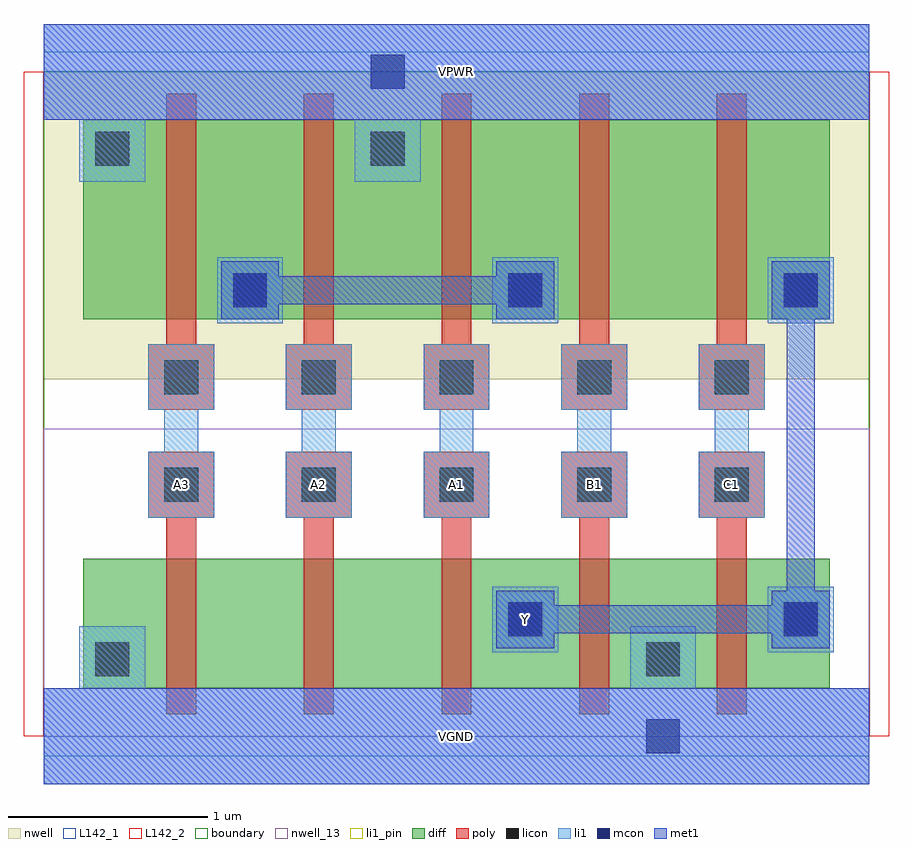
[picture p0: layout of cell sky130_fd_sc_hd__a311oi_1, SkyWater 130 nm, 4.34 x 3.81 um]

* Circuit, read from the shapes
.subckt sky130_fd_sc_hd__a311oi_1 A1 A2 A3 B1 C1 VGND VPWR Y
XM1 n1 A3 VGND VSUBS sky130_fd_pr__nfet_01v8 w=0.65 l=0.15
XM2 n2 A2 n1 VSUBS sky130_fd_pr__nfet_01v8 w=0.65 l=0.15
XM3 Y A1 n2 VSUBS sky130_fd_pr__nfet_01v8 w=0.65 l=0.15
XM4 VGND B1 Y VSUBS sky130_fd_pr__nfet_01v8 w=0.65 l=0.15
XM5 Y C1 VGND VSUBS sky130_fd_pr__nfet_01v8 w=0.65 l=0.15
XM6 n3 A3 VPWR n4 sky130_fd_pr__pfet_01v8 w=1 l=0.15
XM7 VPWR A2 n3 n4 sky130_fd_pr__pfet_01v8 w=1 l=0.15
XM8 n3 A1 VPWR n4 sky130_fd_pr__pfet_01v8 w=1 l=0.15
XM9 n5 B1 n3 n4 sky130_fd_pr__pfet_01v8 w=1 l=0.15
XM10 Y C1 n5 n4 sky130_fd_pr__pfet_01v8 w=1 l=0.15
.ends

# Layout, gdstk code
import gdstk
lib = gdstk.Library(unit=1e-6, precision=1e-09)
def R(c, l, rs):  # rectangles x0, y0, x1, y1
    for r in rs: c.add(gdstk.rectangle(r[:2], r[2:], *l))
def A(c, l, x, y, w, h, nx, ny, dx, dy):  # array of equal rectangles
    R(c, l, [(x+i*dx, y+j*dy, x+i*dx+w, y+j*dy+h) for i in range(nx) for j in range(ny)])
def P(c, l, *ps):  # polygons
    for p in ps: c.add(gdstk.Polygon(p, *l))
nwell_13 = (64, 13)
nwell = (64, 20)
diff = (65, 20)
poly = (66, 20)
licon = (66, 44)
li1_pin = (67, 16)
li1 = (67, 20)
mcon = (67, 44)
met1 = (68, 20)
L142_1 = (142, 1)
L142_2 = (142, 2)
boundary = (235, 4)

sky130_fd_sc_hd__a311oi_ = lib.new_cell('sky130_fd_sc_hd__a311oi_1')
R(sky130_fd_sc_hd__a311oi_, nwell_13, [(0,0,4.14,1.54)])
R(sky130_fd_sc_hd__a311oi_, nwell, [(0,1.79,4.14,3.33)])
A(sky130_fd_sc_hd__a311oi_, diff, 0.615, 0.24, 0.69, 0.65, 4, 1, 0.69, 0)
A(sky130_fd_sc_hd__a311oi_, diff, 0.615, 2.09, 0.69, 1, 4, 1, 0.69, 0)
R(sky130_fd_sc_hd__a311oi_, diff, [(0.2,0.24,3.94,0.89), (0.2,0.24,0.615,0.89), (3.375,0.24,3.94,0.89), (0.2,2.09,3.94,3.09), (0.2,2.09,0.615,3.09), (3.375,2.09,3.94,3.09)])
P(sky130_fd_sc_hd__a311oi_, poly, [(1.305,0.11),(1.305,1.095),(1.215,1.095),(1.215,1.425),(1.545,1.425),(1.545,1.095),(1.455,1.095),(1.455,0.11)],
  [(1.215,1.635),(1.215,1.965),(1.305,1.965),(1.305,3.22),(1.455,3.22),(1.455,1.965),(1.545,1.965),(1.545,1.635)],
  [(1.995,0.11),(1.995,1.095),(1.905,1.095),(1.905,1.425),(2.235,1.425),(2.235,1.095),(2.145,1.095),(2.145,0.11)],
  [(1.905,1.635),(1.905,1.965),(1.995,1.965),(1.995,3.22),(2.145,3.22),(2.145,1.965),(2.235,1.965),(2.235,1.635)],
  [(0.615,0.11),(0.615,1.095),(0.525,1.095),(0.525,1.425),(0.855,1.425),(0.855,1.095),(0.765,1.095),(0.765,0.11)],
  [(0.525,1.635),(0.525,1.965),(0.615,1.965),(0.615,3.22),(0.765,3.22),(0.765,1.965),(0.855,1.965),(0.855,1.635)],
  [(3.375,0.11),(3.375,1.095),(3.285,1.095),(3.285,1.425),(3.615,1.425),(3.615,1.095),(3.525,1.095),(3.525,0.11)],
  [(3.285,1.635),(3.285,1.965),(3.375,1.965),(3.375,3.22),(3.525,3.22),(3.525,1.965),(3.615,1.965),(3.615,1.635)],
  [(2.685,0.11),(2.685,1.095),(2.595,1.095),(2.595,1.425),(2.925,1.425),(2.925,1.095),(2.835,1.095),(2.835,0.11)],
  [(2.595,1.635),(2.595,1.965),(2.685,1.965),(2.685,3.22),(2.835,3.22),(2.835,1.965),(2.925,1.965),(2.925,1.635)])
A(sky130_fd_sc_hd__a311oi_, licon, 0.605, 1.175, 0.17, 0.17, 5, 2, 0.69, 0.54)
A(sky130_fd_sc_hd__a311oi_, licon, 0.95, 2.15, 0.17, 0.17, 3, 1, 1.38, 0)
R(sky130_fd_sc_hd__a311oi_, licon, [(0.26,0.3,0.43,0.47), (3.02,0.3,3.19,0.47), (2.33,0.5,2.5,0.67), (3.71,0.5,3.88,0.67), (0.26,2.86,0.43,3.03), (1.64,2.86,1.81,3.03)])
R(sky130_fd_sc_hd__a311oi_, li1_pin, [(0,-0.24,4.14,0.24), (2.25,0.42,2.58,0.75), (0,3.09,4.14,3.57)])
P(sky130_fd_sc_hd__a311oi_, li1_pin, [(1.905,1.095),(1.905,1.425),(1.985,1.425),(1.985,1.635),(1.905,1.635),(1.905,1.965),(2.235,1.965),(2.235,1.635),(2.155,1.635),(2.155,1.425),(2.235,1.425),(2.235,1.095)],
  [(1.215,1.095),(1.215,1.425),(1.295,1.425),(1.295,1.635),(1.215,1.635),(1.215,1.965),(1.545,1.965),(1.545,1.635),(1.465,1.635),(1.465,1.425),(1.545,1.425),(1.545,1.095)],
  [(3.285,1.095),(3.285,1.425),(3.365,1.425),(3.365,1.635),(3.285,1.635),(3.285,1.965),(3.615,1.965),(3.615,1.635),(3.535,1.635),(3.535,1.425),(3.615,1.425),(3.615,1.095)],
  [(0.525,1.095),(0.525,1.425),(0.605,1.425),(0.605,1.635),(0.525,1.635),(0.525,1.965),(0.855,1.965),(0.855,1.635),(0.775,1.635),(0.775,1.425),(0.855,1.425),(0.855,1.095)],
  [(2.595,1.095),(2.595,1.425),(2.675,1.425),(2.675,1.635),(2.595,1.635),(2.595,1.965),(2.925,1.965),(2.925,1.635),(2.845,1.635),(2.845,1.425),(2.925,1.425),(2.925,1.095)])
A(sky130_fd_sc_hd__a311oi_, li1, 0.87, 2.07, 0.33, 0.33, 3, 1, 1.38, 0)
R(sky130_fd_sc_hd__a311oi_, li1, [(2.25,0.42,2.58,0.75), (3.63,0.42,3.96,0.75)])
P(sky130_fd_sc_hd__a311oi_, li1, [(1.215,1.095),(1.215,1.425),(1.295,1.425),(1.295,1.635),(1.215,1.635),(1.215,1.965),(1.545,1.965),(1.545,1.635),(1.465,1.635),(1.465,1.425),(1.545,1.425),(1.545,1.095)],
  [(0.18,2.78),(0.18,3.09),(0,3.09),(0,3.57),(4.14,3.57),(4.14,3.09),(1.89,3.09),(1.89,2.78),(1.56,2.78),(1.56,3.09),(0.51,3.09),(0.51,2.78)],
  [(1.905,1.095),(1.905,1.425),(1.985,1.425),(1.985,1.635),(1.905,1.635),(1.905,1.965),(2.235,1.965),(2.235,1.635),(2.155,1.635),(2.155,1.425),(2.235,1.425),(2.235,1.095)],
  [(0,-0.24),(0,0.24),(0.18,0.24),(0.18,0.55),(0.51,0.55),(0.51,0.24),(2.94,0.24),(2.94,0.55),(3.27,0.55),(3.27,0.24),(4.14,0.24),(4.14,-0.24)],
  [(0.525,1.095),(0.525,1.425),(0.605,1.425),(0.605,1.635),(0.525,1.635),(0.525,1.965),(0.855,1.965),(0.855,1.635),(0.775,1.635),(0.775,1.425),(0.855,1.425),(0.855,1.095)],
  [(3.285,1.095),(3.285,1.425),(3.365,1.425),(3.365,1.635),(3.285,1.635),(3.285,1.965),(3.615,1.965),(3.615,1.635),(3.535,1.635),(3.535,1.425),(3.615,1.425),(3.615,1.095)],
  [(2.595,1.095),(2.595,1.425),(2.675,1.425),(2.675,1.635),(2.595,1.635),(2.595,1.965),(2.925,1.965),(2.925,1.635),(2.845,1.635),(2.845,1.425),(2.925,1.425),(2.925,1.095)])
A(sky130_fd_sc_hd__a311oi_, mcon, 0.95, 2.15, 0.17, 0.17, 3, 1, 1.38, 0)
R(sky130_fd_sc_hd__a311oi_, mcon, [(3.02,-0.085,3.19,0.085), (2.33,0.5,2.5,0.67), (3.71,0.5,3.88,0.67), (1.64,3.245,1.81,3.415)])
R(sky130_fd_sc_hd__a311oi_, met1, [(0,-0.24,4.14,0.24), (0,3.09,4.14,3.57)])
P(sky130_fd_sc_hd__a311oi_, met1, [(2.27,0.44),(2.27,0.73),(2.56,0.73),(2.56,0.655),(3.65,0.655),(3.65,0.73),(3.725,0.73),(3.725,2.09),(3.65,2.09),(3.65,2.38),(3.94,2.38),(3.94,2.09),(3.865,2.09),(3.865,0.73),(3.94,0.73),(3.94,0.44),(3.65,0.44),(3.65,0.515),(2.56,0.515),(2.56,0.44)],
  [(0.89,2.09),(0.89,2.38),(1.18,2.38),(1.18,2.305),(2.27,2.305),(2.27,2.38),(2.56,2.38),(2.56,2.09),(2.27,2.09),(2.27,2.165),(1.18,2.165),(1.18,2.09)])
R(sky130_fd_sc_hd__a311oi_, L142_1, [(0,-0.1,4.14,0), (0,3.33,4.14,3.43)])
R(sky130_fd_sc_hd__a311oi_, L142_2, [(-0.1,0,0,3.33), (4.14,0,4.24,3.33)])
R(sky130_fd_sc_hd__a311oi_, boundary, [(0,0,4.14,3.33)])
sky130_fd_sc_hd__a311oi_.add(gdstk.Label('Y', (2.415,0.585), layer=67, texttype=5))
sky130_fd_sc_hd__a311oi_.add(gdstk.Label('A1', (2.07,1.26), layer=67, texttype=5))
sky130_fd_sc_hd__a311oi_.add(gdstk.Label('A2', (1.38,1.26), layer=67, texttype=5))
sky130_fd_sc_hd__a311oi_.add(gdstk.Label('C1', (3.45,1.26), layer=67, texttype=5))
sky130_fd_sc_hd__a311oi_.add(gdstk.Label('A3', (0.69,1.26), layer=67, texttype=5))
sky130_fd_sc_hd__a311oi_.add(gdstk.Label('B1', (2.76,1.26), layer=67, texttype=5))
sky130_fd_sc_hd__a311oi_.add(gdstk.Label('VGND', (2.07,0), layer=67, texttype=5))
sky130_fd_sc_hd__a311oi_.add(gdstk.Label('VPWR', (2.07,3.33), layer=67, texttype=5))
sky130_fd_sc_hd__a311oi_.add(gdstk.Label('VGND', (2.07,0), layer=68, texttype=5))
sky130_fd_sc_hd__a311oi_.add(gdstk.Label('VPWR', (2.07,3.33), layer=68, texttype=5))

lib.write_gds('sky130_fd_sc_hd__a311oi_1.gds')
